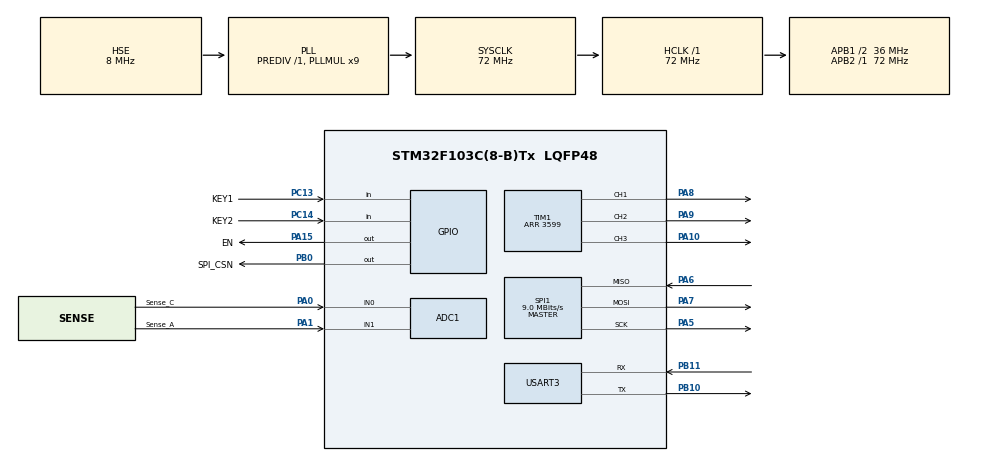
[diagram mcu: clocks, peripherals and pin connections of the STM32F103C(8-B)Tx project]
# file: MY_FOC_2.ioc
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ADC1.Channel-0\#ChannelRegularConversion=ADC_CHANNEL_0
ADC1.Channel-1\#ChannelRegularConversion=ADC_CHANNEL_1
ADC1.NbrOfConversion=2
ADC1.NbrOfConversionFlag=1
ADC1.Rank-0\#ChannelRegularConversion=1
ADC1.Rank-1\#ChannelRegularConversion=2
ADC1.SamplingTime-0\#ChannelRegularConversion=ADC_SAMPLETIME_239CYCLES_5
ADC1.SamplingTime-1\#ChannelRegularConversion=ADC_SAMPLETIME_239CYCLES_5
ADC1.master=1
Dma.ADC1.1.Direction=DMA_PERIPH_TO_MEMORY
Dma.ADC1.1.Instance=DMA1_Channel1
Dma.ADC1.1.MemDataAlignment=DMA_MDATAALIGN_HALFWORD
Dma.ADC1.1.MemInc=DMA_MINC_ENABLE
Dma.ADC1.1.Mode=DMA_CIRCULAR
Dma.ADC1.1.PeriphDataAlignment=DMA_PDATAALIGN_HALFWORD
Dma.ADC1.1.PeriphInc=DMA_PINC_DISABLE
Dma.ADC1.1.Priority=DMA_PRIORITY_HIGH
Dma.Request0=USART3_TX
Dma.Request1=ADC1
Dma.USART3_TX.0.Direction=DMA_MEMORY_TO_PERIPH
Dma.USART3_TX.0.Instance=DMA1_Channel2
Dma.USART3_TX.0.MemDataAlignment=DMA_MDATAALIGN_BYTE
Dma.USART3_TX.0.MemInc=DMA_MINC_ENABLE
Dma.USART3_TX.0.Mode=DMA_NORMAL
Dma.USART3_TX.0.PeriphDataAlignment=DMA_PDATAALIGN_BYTE
Dma.USART3_TX.0.PeriphInc=DMA_PINC_DISABLE
Dma.USART3_TX.0.Priority=DMA_PRIORITY_HIGH
Mcu.Family=STM32F1
Mcu.Name=STM32F103C(8-B)Tx
Mcu.Package=LQFP48
NVIC.DMA1_Channel1_IRQn=true\:0\:0\:false\:false\:true\:false\:true\:true
NVIC.DMA1_Channel2_IRQn=true\:0\:0\:false\:false\:true\:false\:true\:true
NVIC.PriorityGroup=NVIC_PRIORITYGROUP_4
NVIC.USART3_IRQn=true\:0\:0\:false\:false\:true\:true\:true\:true
PA0-WKUP.GPIO_Label=Sense_C
PA0-WKUP.Signal=ADCx_IN0
PA1.GPIO_Label=Sense_A
PA1.Signal=ADCx_IN1
PA10.Signal=S_TIM1_CH3
PA13.Mode=Serial_Wire
PA13.Signal=SYS_JTMS-SWDIO
PA14.Mode=Serial_Wire
PA14.Signal=SYS_JTCK-SWCLK
PA15.GPIO_Label=EN
PA15.Signal=GPIO_Output
PA5.Mode=Full_Duplex_Master
PA5.Signal=SPI1_SCK
PA6.Mode=Full_Duplex_Master
PA6.Signal=SPI1_MISO
PA7.Mode=Full_Duplex_Master
PA7.Signal=SPI1_MOSI
PA8.Signal=S_TIM1_CH1
PA9.Signal=S_TIM1_CH2
PB0.GPIO_Label=SPI_CSN
PB0.GPIO_PuPd=GPIO_PULLUP
PB0.GPIO_Speed=GPIO_SPEED_FREQ_HIGH
PB0.Signal=GPIO_Output
PB10.Mode=Asynchronous
PB10.Signal=USART3_TX
PB11.Mode=Asynchronous
PB11.Signal=USART3_RX
PC13-TAMPER-RTC.GPIO_Label=KEY1
PC13-TAMPER-RTC.GPIO_PuPd=GPIO_NOPULL
PC13-TAMPER-RTC.Signal=GPIO_Input
PC14-OSC32_IN.GPIO_Label=KEY2
PC14-OSC32_IN.GPIO_PuPd=GPIO_NOPULL
PC14-OSC32_IN.Signal=GPIO_Input
PD0-OSC_IN.Mode=HSE-External-Oscillator
PD0-OSC_IN.Signal=RCC_OSC_IN
PD1-OSC_OUT.Mode=HSE-External-Oscillator
PD1-OSC_OUT.Signal=RCC_OSC_OUT
ProjectManager.HeapSize=0x200
ProjectManager.StackSize=0x400
ProjectManager.TargetToolchain=STM32CubeIDE
RCC.ADCPresc=RCC_ADCPCLK2_DIV6
RCC.AHBFreq_Value=72000000
RCC.APB1CLKDivider=RCC_HCLK_DIV2
RCC.APB1Freq_Value=36000000
RCC.APB1TimFreq_Value=72000000
RCC.APB2Freq_Value=72000000
RCC.APB2TimFreq_Value=72000000
RCC.HCLKFreq_Value=72000000
RCC.PLLMUL=RCC_PLL_MUL9
RCC.PLLSourceVirtual=RCC_PLLSOURCE_HSE
RCC.SYSCLKFreq_VALUE=72000000
RCC.SYSCLKSource=RCC_SYSCLKSOURCE_PLLCLK
RCC.USBFreq_Value=72000000
SH.ADCx_IN0.0=ADC1_IN0,IN0
SH.ADCx_IN1.0=ADC1_IN1,IN1
SH.S_TIM1_CH1.0=TIM1_CH1,PWM Generation1 CH1
SH.S_TIM1_CH2.0=TIM1_CH2,PWM Generation2 CH2
SH.S_TIM1_CH3.0=TIM1_CH3,PWM Generation3 CH3
SPI1.BaudRatePrescaler=SPI_BAUDRATEPRESCALER_8
SPI1.CLKPhase=SPI_PHASE_2EDGE
SPI1.CalculateBaudRate=9.0 MBits/s
SPI1.DataSize=SPI_DATASIZE_16BIT
SPI1.Direction=SPI_DIRECTION_2LINES
SPI1.Mode=SPI_MODE_MASTER
SPI1.VirtualType=VM_MASTER
TIM1.Channel-PWM\ Generation1\ CH1=TIM_CHANNEL_1
TIM1.Channel-PWM\ Generation2\ CH2=TIM_CHANNEL_2
TIM1.Channel-PWM\ Generation3\ CH3=TIM_CHANNEL_3
TIM1.CounterMode=TIM_COUNTERMODE_CENTERALIGNED2
TIM1.Period=3599
USART3.VirtualMode=VM_ASYNC
VP_TIM1_VS_ClockSourceINT.Mode=Internal
board=custom

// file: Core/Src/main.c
/* USER CODE BEGIN Header */
/**
  ******************************************************************************
  * @file           : main.c
  * @brief          : Main program body
  ******************************************************************************
  * @attention
  *
  * Copyright (c) 2023 STMicroelectronics.
  * All rights reserved.
  *
  * This software is licensed under terms that can be found in the LICENSE file
  * in the root directory of this software component.
  * If no LICENSE file comes with this software, it is provided AS-IS.
  *
  ******************************************************************************
  */
/* USER CODE END Header */
#include "main.h"
#include "adc.h"
#include "dma.h"
#include "spi.h"
#include "tim.h"
#include "usart.h"
#include "gpio.h"

/* USER CODE BEGIN Includes */
#include "retarget.h"
#include "string.h"
#include "IQmathLib.h"
#include "stm32f1xx_hal_spi.h"
#include "BLDC_MOTOR.h"
// #include "MT6701_SPI.h"
#include "Motor_ADC.h"
#include "User_APP.h"
#include "as5047p.h"

/* USER CODE END Includes */

void SystemClock_Config(void);

/* USER CODE BEGIN 0 */
uint8_t Buffer[1];
float sendTX[9] = {0};
static uint8_t sendData[40] = {0,0,0,0,
                               0,0,0,0,
                               0,0,0,0,
                               0,0,0,0,
                               0,0,0,0,
                               0,0,0,0,
                               0,0,0,0,
                               0,0,0,0,
                               0,0,0,0,
                               0,0,0x80,0x7F};
foc_data motor_a={
        0,0,0,0,0,0,0,0,0,
        0,0,0,0,0,0,0,0,0,0,0,0,0
};
/* USER CODE END 0 */

int main(void)
{

  /* MCU Configuration--------------------------------------------------------*/

  /* Reset of all peripherals, Initializes the Flash interface and the Systick. */
  HAL_Init();

  /* Configure the system clock */
  SystemClock_Config();

  /* Initialize all configured peripherals */
  MX_GPIO_Init();
  MX_DMA_Init();
  MX_USART3_UART_Init();
  MX_TIM1_Init();
  MX_ADC1_Init();
  MX_SPI1_Init();
  /* USER CODE BEGIN 2 */
  brushless_motor_Init();
  RetargetInit(&huart3);
  HAL_UART_Receive_IT(&huart3, (uint8_t *)Buffer, 1);
  ADC_Init();
  FocPID_Init(&motor_a);
  //motor_a.iq_ref=0.1f;
  //motor_a.id_ref=0.0f;
  motor_a.tar_speed=0.0f;
  motor_a.tar_angle=0.0f;
  motor_a.pole_pairs=11;
  motor_a.angle_Offect=(float)15.227051;
  /* USER CODE END 2 */

  /* Infinite loop */
  /* USER CODE BEGIN WHILE */

  /*Motor1AngleCalibration();*/
  while (1)
  {
    /* USER CODE END WHILE */

    /* USER CODE BEGIN 3 */
      Read_Angle(&motor_a);
      GetMotor_Speed(&motor_a);
      GetMotorADC1PhaseCurrent(&motor_a);
      Clarke(&motor_a);
      Park(&motor_a);
      User_APP(&motor_a,4);
      SpeedPIControlIQ(&motor_a);
      CurrentPIControlID(&motor_a);
      CurrentPIControlIQ(&motor_a);
      //motor_a.iqPID.out=0.0f;
      //motor_a.idPID.out=0.0f;
      FOC_SVPWM(&motor_a);

      HAL_ADC_Start_DMA(&hadc1,(uint32_t*)&ADC_Value,2); //DMA
      sendTX[0] = motor_a.iqPID.out;
      sendTX[1] = motor_a.idPID.out;
      sendTX[2] = motor_a.iq_ref;
      sendTX[3] = motor_a.id_ref;
      sendTX[4] = motor_a.iq;
      sendTX[5] = motor_a.tar_angle;
      sendTX[6] = motor_a.angle;
      sendTX[7] = motor_a.tar_speed;
      sendTX[8] = motor_a.speed;
      memcpy(sendData, (uint8_t *) &sendTX, sizeof(sendTX));
      HAL_UART_Transmit_DMA(&huart3, (uint8_t *) sendData, sizeof(sendData));
  }
  /* USER CODE END 3 */
}

void SystemClock_Config(void)
{
  RCC_OscInitTypeDef RCC_OscInitStruct = {0};
  RCC_ClkInitTypeDef RCC_ClkInitStruct = {0};
  RCC_PeriphCLKInitTypeDef PeriphClkInit = {0};

  /** Initializes the RCC Oscillators according to the specified parameters
  * in the RCC_OscInitTypeDef structure.
  */
  RCC_OscInitStruct.OscillatorType = RCC_OSCILLATORTYPE_HSE;
  RCC_OscInitStruct.HSEState = RCC_HSE_ON;
  RCC_OscInitStruct.HSEPredivValue = RCC_HSE_PREDIV_DIV1;
  RCC_OscInitStruct.HSIState = RCC_HSI_ON;
  RCC_OscInitStruct.PLL.PLLState = RCC_PLL_ON;
  RCC_OscInitStruct.PLL.PLLSource = RCC_PLLSOURCE_HSE;
  RCC_OscInitStruct.PLL.PLLMUL = RCC_PLL_MUL9;
  if (HAL_RCC_OscConfig(&RCC_OscInitStruct) != HAL_OK)
  {
    Error_Handler();
  }

  /** Initializes the CPU, AHB and APB buses clocks
  */
  RCC_ClkInitStruct.ClockType = RCC_CLOCKTYPE_HCLK|RCC_CLOCKTYPE_SYSCLK
                              |RCC_CLOCKTYPE_PCLK1|RCC_CLOCKTYPE_PCLK2;
  RCC_ClkInitStruct.SYSCLKSource = RCC_SYSCLKSOURCE_PLLCLK;
  RCC_ClkInitStruct.AHBCLKDivider = RCC_SYSCLK_DIV1;
  RCC_ClkInitStruct.APB1CLKDivider = RCC_HCLK_DIV2;
  RCC_ClkInitStruct.APB2CLKDivider = RCC_HCLK_DIV1;

  if (HAL_RCC_ClockConfig(&RCC_ClkInitStruct, FLASH_LATENCY_2) != HAL_OK)
  {
    Error_Handler();
  }
  PeriphClkInit.PeriphClockSelection = RCC_PERIPHCLK_ADC;
  PeriphClkInit.AdcClockSelection = RCC_ADCPCLK2_DIV6;
  if (HAL_RCCEx_PeriphCLKConfig(&PeriphClkInit) != HAL_OK)
  {
    Error_Handler();
  }
}

void Error_Handler(void)
{
  __disable_irq();
  while (1)
  {
  }
}
